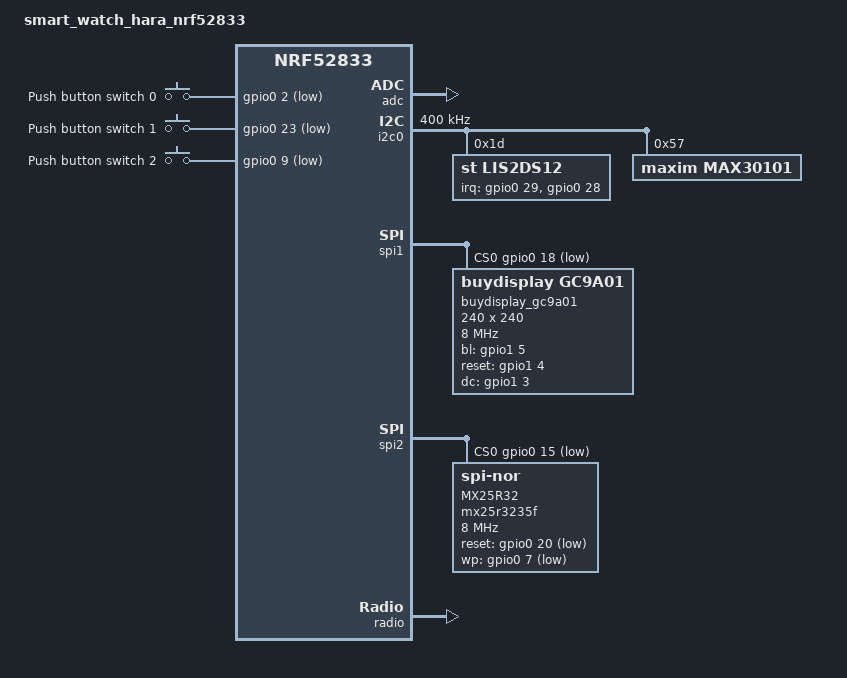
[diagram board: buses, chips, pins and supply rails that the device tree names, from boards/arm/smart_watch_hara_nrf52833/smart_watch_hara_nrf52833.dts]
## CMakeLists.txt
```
# SPDX-License-Identifier: Apache-2.0

cmake_minimum_required(VERSION 3.20.0)

find_package(Zephyr REQUIRED HINTS $ENV{ZEPHYR_BASE})
project(lvgl)

add_subdirectory(drivers)
include_directories(src/ui)

FILE(GLOB app_sources src/*.c)
target_sources(app PRIVATE ${app_sources})

FILE(GLOB ui_sources src/ui/*.c)
target_sources(app PRIVATE ${ui_sources})

add_compile_definitions(LV_LVGL_H_INCLUDE_SIMPLE)
```

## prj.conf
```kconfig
CONFIG_LV_Z_MEM_POOL_NUMBER_BLOCKS=8
CONFIG_MAIN_STACK_SIZE=5120
CONFIG_THREAD_MONITOR=y

CONFIG_DISPLAY=y
CONFIG_DISPLAY_LOG_LEVEL_ERR=y

# CONFIG_LV_Z_MEM_POOL_NUMBER_BLOCKS=8
# CONFIG_MAIN_STACK_SIZE=1024
CONFIG_SYSTEM_WORKQUEUE_STACK_SIZE=4096 
CONFIG_HEAP_MEM_POOL_SIZE=17000

CONFIG_LOG=y

CONFIG_PRINTK=y
CONFIG_CONSOLE=y
CONFIG_RTT_CONSOLE=y
CONFIG_USE_SEGGER_RTT=y

CONFIG_LVGL=y
CONFIG_LV_MEM_CUSTOM=y
CONFIG_LV_FONT_MONTSERRAT_14=y
CONFIG_LV_FONT_MONTSERRAT_16=y
#CONFIG_LV_PERF_MONITOR_ALIGN_RIGHT_MID=y

# LVGL Size optimizations
CONFIG_LV_LABEL_TEXT_SELECTION=n
CONFIG_LV_LABEL_LONG_TXT_HINT=n
CONFIG_LV_USE_LOG=n
CONFIG_LV_USE_BAR=n
CONFIG_LV_USE_CANVAS=n
CONFIG_LV_USE_CHECKBOX=n
CONFIG_LV_USE_DROPDOWN=n
CONFIG_LV_USE_LINE=y
CONFIG_LV_USE_ROLLER=y
CONFIG_LV_USE_SLIDER=y
CONFIG_LV_USE_SWITCH=y
CONFIG_LV_USE_TABLE=n
CONFIG_LV_USE_TEXTAREA=n
CONFIG_LV_USE_FLEX=y
CONFIG_LV_USE_ANIMIMG=y
CONFIG_LV_USE_CALENDAR=n
CONFIG_LV_USE_CHART=n
CONFIG_LV_USE_COLORWHEEL=n
CONFIG_LV_USE_IMGBTN=y
CONFIG_LV_USE_KEYBOARD=y
CONFIG_LV_USE_LED=n
CONFIG_LV_USE_LIST=y
CONFIG_LV_USE_MENU=y
CONFIG_LV_USE_METER=y
CONFIG_LV_USE_MSGBOX=y
CONFIG_LV_USE_SPINBOX=n
CONFIG_LV_USE_SPINNER=y
CONFIG_LV_USE_TABVIEW=n
CONFIG_LV_USE_TILEVIEW=n
CONFIG_LV_USE_WIN=n
CONFIG_LV_USE_SPAN=n
CONFIG_LV_USE_USER_DATA=y

CONFIG_LV_USE_TEXTAREA=y
# CONFIG_LV_USE_SPINNER=y
CONFIG_LV_USE_CHART=y
# CONFIG_LV_SPAN_SNIPPET_STACK_SIZE=64
CONFIG_LV_Z_VDB_SIZE=10
CONFIG_LV_Z_DOUBLE_VDB=n
CONFIG_SPI=y
CONFIG_GC9A01=y
CONFIG_LV_COLOR_DEPTH_16=y
CONFIG_LV_COLOR_16_SWAP=y
#
# Memory settings
#
# CONFIG_LV_MEM_CUSTOM is not set
CONFIG_LV_MEM_SIZE_KILOBYTES=25
CONFIG_LV_MEM_ADDR=0x0
CONFIG_LV_MEM_BUF_MAX_NUM=16
# end of Memory settingsC
CONFIG_I2C=y
CONFIG_KSCAN=y
CONFIG_KSCAN_CST816S=y

CONFIG_PWM=y
```

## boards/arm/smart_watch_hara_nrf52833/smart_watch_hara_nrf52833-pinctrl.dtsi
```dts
/*
 * Copyright (c) 2022 Nordic Semiconductor
 * SPDX-License-Identifier: Apache-2.0
 */

&pinctrl {
	// TODO remove for actual watch, no UART

	i2c0_default: i2c0_default {
		group1 {
			psels = <NRF_PSEL(TWIM_SDA, 0, 27)>,
					<NRF_PSEL(TWIM_SCL, 0, 6)>;
		};
	};

	i2c0_sleep: i2c0_sleep {
		group1 {
			psels = <NRF_PSEL(TWIM_SDA, 0, 27)>,
					<NRF_PSEL(TWIM_SCL, 0, 6)>;
			low-power-enable;
		};
	};

	spi1_default: spi1_default {
		group1 {
			// psels = <NRF_PSEL(SPIM_SCK, 0, 1)>,
					   // <NRF_PSEL(SPIM_MOSI, 0, 0)>;
			//<NRF_PSEL(SPIM_MISO, 0, 0)>;
			psels = <NRF_PSEL(SPIM_SCK, 1, 2)>,
					<NRF_PSEL(SPIM_MOSI, 1, 1)>;

		};
	};

	spi1_sleep: spi1_sleep {
		group1 {
			psels = <NRF_PSEL(SPIM_SCK, 1, 2)>,
					<NRF_PSEL(SPIM_MOSI, 1, 1)>;
			//<NRF_PSEL(SPIM_MISO, 0, 0)>;
			low-power-enable;
		};
	};

	spi2_default: spi2_default {
		group1 {
			psels = <NRF_PSEL(SPIM_SCK, 0, 14)>,
			        <NRF_PSEL(SPIM_MOSI, 1, 9)>,
			        <NRF_PSEL(SPIM_MISO, 0, 22)>;
		};
	};

	spi2_sleep: spi2_sleep {
		group1 {
			psels = <NRF_PSEL(SPIM_SCK, 0, 14)>,
			        <NRF_PSEL(SPIM_MOSI, 1, 9)>,
			        <NRF_PSEL(SPIM_MISO, 0, 22)>;
			low-power-enable;
		};
	};
};
```

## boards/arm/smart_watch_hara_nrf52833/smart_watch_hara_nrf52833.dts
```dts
// Copyright (c) 2022 Nordic Semiconductor ASA
// SPDX-License-Identifier: Apache-2.0

/dts-v1/;
#include <nordic/nrf52833_qiaa.dtsi>
#include "smart_watch_hara_nrf52833-pinctrl.dtsi"

/ {
	model = "smart_watch_hara_nrf52833";
	compatible = "jakob-krantz,smart-watch-hara-nrf52833";

	chosen {
		zephyr,console = &uart0;
		zephyr,sram = &sram0;
		zephyr,flash = &flash0;
		zephyr,display = &gc9a01;
		zephyr,code-partition = &slot0_partition;
	};

	// TODO change to watch buttons
	buttons {
		compatible = "gpio-keys";
		button0: button_0 {
			gpios = <&gpio0 2 (GPIO_PULL_UP | GPIO_ACTIVE_LOW)>;
			label = "Push button switch 0";
		};
		button1: button_1 {
			gpios = <&gpio0 23 (GPIO_PULL_UP | GPIO_ACTIVE_LOW)>;
			label = "Push button switch 1";
		};
		button2: button2 {
			gpios = <&gpio0 9 (GPIO_PULL_UP | GPIO_ACTIVE_LOW)>;
			label = "Push button switch 2";
		};
	};

	/*
	fstab {
		compatible = "zephyr,fstab";
		lfs: lfs {
		  compatible = "zephyr,fstab,littlefs";
		  mount-point = "/lfs";
		  partition = <&lfs1_part>;
		  read-size = <16>;
		  prog-size = <16>;
		  cache-size = <64>;
		  lookahead-size = <32>;
		  block-cycles = <512>;
		};
	  };
	*/
};


&gpio0 {
	status = "okay";
};

&gpio1 {
	status = "okay";
};

&adc {
	status = "okay";
};

&i2c0 {
	compatible = "nordic,nrf-twim";
	status = "okay";
	clock-frequency = <I2C_BITRATE_FAST>;

	pinctrl-0 = <&i2c0_default>;
	pinctrl-1 = <&i2c0_sleep>;
	pinctrl-names = "default", "sleep";
	lis2ds12: lis2ds12@1D {
		compatible = "st,lis2ds12", "st,lis2ds";
		label = "lis2ds12";
		reg = <0x1D>;
		irq-gpios = <&gpio0 29 GPIO_ACTIVE_HIGH &gpio0 28 GPIO_ACTIVE_HIGH>;
	};
	max30101@57 {
		status = "okay";
		compatible = "maxim,max30101";
		reg = <0x57>;
		label = "MAX30101";
	};
};

&spi1  {
	status = "okay";
	compatible = "nordic,nrf-spi";
	pinctrl-0 = <&spi1_default>;
	pinctrl-1 = <&spi1_sleep>;
	pinctrl-names = "default", "sleep";
	cs-gpios = <&gpio0 18 GPIO_ACTIVE_LOW>;

	gc9a01: gc9a01@0 {
		compatible = "buydisplay,gc9a01";
		status = "okay";
		spi-max-frequency = <8000000>;
		reg = <0>;
		width = <240>;
		label = "buydisplay_gc9a01";
		height = <240>;
		bl-gpios = <&gpio1 5 GPIO_ACTIVE_HIGH>;
		reset-gpios = <&gpio1 4 GPIO_ACTIVE_HIGH>;
		dc-gpios = <&gpio1 3 GPIO_ACTIVE_HIGH>;
	};

};

&spi2 {
	status = "okay";
	pinctrl-0 = <&spi2_default>;
	pinctrl-1 = <&spi2_sleep>;
	pinctrl-names = "default", "sleep";
	cs-gpios = <&gpio0 15 GPIO_ACTIVE_LOW>;
	mx25r32: mx25r3235f@0 {
		compatible = "jedec,spi-nor";
		reg = <0>;
		spi-max-frequency = <8000000>;
		label = "MX25R32";
		size = <33554432>;
		jedec-id = [c2 28 16];
		/*
		sfdp-bfp = [
			e5 20 f1 ff  ff ff ff 03  44 eb 08 6b  08 3b 04 bb
			ee ff ff ff  ff ff 00 ff  ff ff 00 ff  0c 20 0f 52
			10 d8 00 ff  23 72 f5 00  82 ed 04 cc  44 83 68 44
			30 b0 30 b0  f7 c4 d5 5c  00 be 29 ff  f0 d0 ff ff
		];
		has-dpd;
		t-enter-dpd = <10000>;
		t-exit-dpd = <35000>;*/
		reset-gpios = <&gpio0 20 (GPIO_ACTIVE_LOW | GPIO_PULL_UP)>;
		wp-gpios = <&gpio0 7 GPIO_ACTIVE_LOW>;
	};
};


&flash0 {
	partitions {
		compatible = "fixed-partitions";
		#address-cells = <1>;
		#size-cells = <1>;

		boot_partition: partition@0 {
			label = "mcuboot";
			reg = <0x0 0xc000>;
		};
		slot0_partition: partition@c000 {
			label = "image-0";
			reg = <0xc000 0x32000>;
		};
		slot1_partition: partition@3e000 {
			label = "image-1";
			reg = <0x3e000 0x32000>;
		};
		scratch_partition: partition@70000 {
			label = "image-scratch";
			reg = <0x70000 0xe000>;
		};
		storage_partition: partition@7e000 {
			label = "storage";
			reg = <0x7e000 0x2000>;
		};
	};
};

// Zephyr gets mad if this is not set, even thought we don't do any switching
&radio {
	status = "okay";
	dfe-antenna-num = <10>;
	dfe-pdu-antenna = <0x1>;
	// dfegpio0-gpios = <&gpio1 1 0>;
	// dfegpio1-gpios = <&gpio1 1 0>;
	// dfegpio2-gpios = <&gpio1 1 0>;
	// dfegpio3-gpios = <&gpio1 1 0>;
};
```

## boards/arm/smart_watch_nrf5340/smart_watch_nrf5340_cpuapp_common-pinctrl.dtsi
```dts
/*
 * Copyright (c) 2022 Nordic Semiconductor
 * SPDX-License-Identifier: Apache-2.0
 */

 &pinctrl {
	uart0_default: uart0_default {
		group1 {
			psels = <NRF_PSEL(UART_TX, 0, 6)>,
					<NRF_PSEL(UART_RTS, 0, 5)>;
		};
		group2 {
			psels = <NRF_PSEL(UART_RX, 0, 8)>,
					<NRF_PSEL(UART_CTS, 0, 7)>;
			bias-pull-up;
		};
	};

	uart0_sleep: uart0_sleep {
		group1 {
			psels = <NRF_PSEL(UART_TX, 0, 6)>,
			        <NRF_PSEL(UART_RX, 0, 8)>,
			        <NRF_PSEL(UART_RTS, 0, 5)>,
			        <NRF_PSEL(UART_CTS, 0, 7)>;
			low-power-enable;
		};
	};
	spi1_default: spi1_default {
		group1 {
			psels = <NRF_PSEL(SPIM_SCK, 1, 2)>,
					<NRF_PSEL(SPIM_MOSI, 1, 1)>;
			//<NRF_PSEL(SPIM_MISO, 0, 0)>;
		};
	};

	spi1_sleep: spi1_sleep {
		group1 {
			psels = <NRF_PSEL(SPIM_SCK, 1, 2)>,
					<NRF_PSEL(SPIM_MOSI, 1, 1)>;
			//<NRF_PSEL(SPIM_MISO, 0, 0)>;
			low-power-enable;
		};
	};

	i2c1_default: i2c1_default {
		group1 {
			psels = <NRF_PSEL(TWIM_SDA, 0, 26)>,
					<NRF_PSEL(TWIM_SCL, 0, 27)>;
		};
	};

	i2c1_sleep: i2c1_sleep {
		group1 {
			psels = <NRF_PSEL(TWIM_SDA, 0, 26)>,
					<NRF_PSEL(TWIM_SCL, 0, 27)>;
			low-power-enable;
		};
	};
	// Display BLK
	pwm0_default: pwm0_default {
		group1 {
			psels = <NRF_PSEL(PWM_OUT0, 1, 6)>;
		};
	};

	pwm0_sleep: pwm0_sleep {
		group1 {
			psels = <NRF_PSEL(PWM_OUT0, 1, 6)>;
			low-power-enable;
		};
	};

};
```

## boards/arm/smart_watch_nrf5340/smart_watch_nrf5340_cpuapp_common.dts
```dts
/*
 * Copyright (c) 2022 Nordic Semiconductor ASA
 *
 * SPDX-License-Identifier: LicenseRef-Nordic-5-Clause
 */
#include "smart_watch_nrf5340_cpuapp_common-pinctrl.dtsi"

/ {

	chosen {
		zephyr,console = &uart0;
		zephyr,bt-hci-rpmsg-ipc = &ipc0;
		zephyr,display = &gc9a01;
	};

	leds {
		compatible = "gpio-leds";
		led0: led_0 {
			gpios = <&gpio0 13 GPIO_ACTIVE_LOW>;
			label = "Green LED 0";
		};
	};

	pwmleds {
		compatible = "pwm-leds";
		pwm_led0: pwm_led_0 {
			pwms = <&pwm0 0 PWM_MSEC(20) 0>;
		};
	};

	/* These aliases are provided for compatibility with samples */
	aliases {
		led0 = &led0;
		pwm-led0 = &pwm_led0;
	};
};

&gpio0 {
	status = "okay";
};

&gpio1 {
	status = "okay";
};

&pwm0 {
	status = "okay";
	pinctrl-0 = <&pwm0_default>;
	pinctrl-1 = <&pwm0_sleep>;
	pinctrl-names = "default", "sleep";
};

&uart0 {
	compatible = "nordic,nrf-uarte";
	status = "okay";
	current-speed = <115200>;
	pinctrl-0 = <&uart0_default>;
	pinctrl-1 = <&uart0_sleep>;
	pinctrl-names = "default", "sleep";
};

&spi1 {
	status = "okay";
	compatible = "nordic,nrf-spi";
	pinctrl-0 = <&spi1_default>;
	pinctrl-1 = <&spi1_sleep>;
	pinctrl-names = "default", "sleep";
	cs-gpios = <&gpio1 3 GPIO_ACTIVE_LOW>;

	gc9a01: gc9a01@0 {
		compatible = "buydisplay,gc9a01";
		status = "okay";
		spi-max-frequency = <8000000>;
		reg = <0>;
		width = <240>;
		label = "buydisplay_gc9a01";
		height = <240>;
		bl-gpios = <&gpio1 6 GPIO_ACTIVE_HIGH>;
		reset-gpios = <&gpio1 5 GPIO_ACTIVE_HIGH>;
		dc-gpios = <&gpio1 8 GPIO_ACTIVE_HIGH>;
	};

};

&i2c1 {
	status = "okay";
	compatible = "nordic,nrf-twi";
	pinctrl-0 = <&i2c1_default>;
	pinctrl-1 = <&i2c1_sleep>;
	pinctrl-names = "default", "sleep";
	cst816s@0 {
		compatible = "hynitron,cst816s";
		reg = <0x0 >;
		irq-gpios = <&gpio0 12 GPIO_ACTIVE_LOW>;
		rst-gpios = <&gpio0 11 GPIO_ACTIVE_LOW>;
	};
};

&flash0 {

	partitions {
		compatible = "fixed-partitions";
		#address-cells = <1>;
		#size-cells = <1>;

		boot_partition: partition@0 {
			label = "mcuboot";
			reg = <0x00000000 0x00010000>;
		};
		slot0_partition: partition@10000 {
			label = "image-0";
		};
		slot0_ns_partition: partition@50000 {
			label = "image-0-nonsecure";
		};
		slot1_partition: partition@80000 {
			label = "image-1";
		};
		slot1_ns_partition: partition@c0000 {
			label = "image-1-nonsecure";
		};
		scratch_partition: partition@f0000 {
			label = "image-scratch";
			reg = <0x000f0000 0xa000>;
		};
		storage_partition: partition@fa000 {
			label = "storage";
			reg = <0x000fa000 0x00006000>;
		};
	};
};

zephyr_udc0: &usbd {
	compatible = "nordic,nrf-usbd";
	status = "okay";
};

/ {

	reserved-memory {
		#address-cells = <1>;
		#size-cells = <1>;
		ranges;

		sram0_image: image@20000000 {
			/* Zephyr image(s) memory */
		};

		sram0_s: image_s@20000000 {
			/* Secure image memory */
		};

		sram0_ns: image_ns@20040000 {
			/* Non-Secure image memory */
		};
	};
};

/* Include partition configuration file */
#include "smart_watch_nrf5340_cpuapp_partition_conf.dts"
```

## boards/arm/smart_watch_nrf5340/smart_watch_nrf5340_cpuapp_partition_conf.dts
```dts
/*
 * Copyright (c) 2022 Nordic Semiconductor ASA
 *
 * SPDX-License-Identifier: LicenseRef-Nordic-5-Clause
 */

/*
 * Default Flash planning for nrf7002dk_nrf5340 CPUAPP (Application MCU).
 *
 * Zephyr build for nRF5340 with ARM TrustZone-M support,
 * implies building Secure and Non-Secure Zephyr images.
 *
 * Secure image will be placed, by default, in flash0
 * (or in slot0, if MCUboot is present).
 * Secure image will use sram0 for system memory.
 *
 * Non-Secure image will be placed in slot0_ns, and use
 * sram0_ns for system memory.
 *
 * Note that the Secure image only requires knowledge of
 * the beginning of the Non-Secure image (not its size).
 */

&slot0_partition {
	reg = <0x00010000 0x40000>;
};

&slot0_ns_partition {
	reg = <0x00050000 0x30000>;
};

&slot1_partition {
	reg = <0x00080000 0x40000>;
};

&slot1_ns_partition {
	reg = <0x000c0000 0x30000>;
};

/* Default SRAM planning when building for nRF5340 with
 * ARM TrustZone-M support
 * - Lowest 256 kB SRAM allocated to Secure image (sram0_s)
 * - Middle 192 kB allocated to Non-Secure image (sram0_ns)
 * - Upper 64 kB SRAM allocated as Shared memory (sram0_shared)
 *   (see nrf5340_shared_sram_planning_conf.dts)
 */
&sram0_image {
	reg = <0x20000000 DT_SIZE_K(448)>;
};

&sram0_s {
	reg = <0x20000000 DT_SIZE_K(256)>;
};

&sram0_ns {
	reg = <0x20040000 DT_SIZE_K(192)>;
};

/* Include shared RAM configuration file */
#include "smart_watch_nrf5340_shared_sram_planning_conf.dts"
```

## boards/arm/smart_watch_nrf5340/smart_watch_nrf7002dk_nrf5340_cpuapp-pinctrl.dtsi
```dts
/*
 * Copyright (c) 2022 Nordic Semiconductor
 * SPDX-License-Identifier: Apache-2.0
 */

 &pinctrl {
	uart0_default: uart0_default {
		group1 {
			psels = <NRF_PSEL(UART_TX, 0, 6)>,
					<NRF_PSEL(UART_RTS, 0, 5)>;
		};
		group2 {
			psels = <NRF_PSEL(UART_RX, 0, 8)>,
					<NRF_PSEL(UART_CTS, 0, 7)>;
			bias-pull-up;
		};
	};

	uart0_sleep: uart0_sleep {
		group1 {
			psels = <NRF_PSEL(UART_TX, 0, 6)>,
			        <NRF_PSEL(UART_RX, 0, 8)>,
			        <NRF_PSEL(UART_RTS, 0, 5)>,
			        <NRF_PSEL(UART_CTS, 0, 7)>;
			low-power-enable;
		};
	};
	spi1_default: spi1_default {
		group1 {
			psels = <NRF_PSEL(SPIM_SCK, 1, 2)>,
					<NRF_PSEL(SPIM_MOSI, 1, 1)>;
			//<NRF_PSEL(SPIM_MISO, 0, 0)>;
		};
	};

	spi1_sleep: spi1_sleep {
		group1 {
			psels = <NRF_PSEL(SPIM_SCK, 1, 2)>,
					<NRF_PSEL(SPIM_MOSI, 1, 1)>;
			//<NRF_PSEL(SPIM_MISO, 0, 0)>;
			low-power-enable;
		};
	};

	i2c0_default: i2c0_default {
		group1 {
			psels = <NRF_PSEL(TWIM_SDA, 0, 26)>,
					<NRF_PSEL(TWIM_SCL, 0, 27)>;
		};
	};

	i2c0_sleep: i2c0_sleep {
		group1 {
			psels = <NRF_PSEL(TWIM_SDA, 0, 26)>,
					<NRF_PSEL(TWIM_SCL, 0, 27)>;
			low-power-enable;
		};
	};
	// Display BLK
	pwm0_default: pwm0_default {
		group1 {
			psels = <NRF_PSEL(PWM_OUT0, 1, 6)>;
		};
	};

	pwm0_sleep: pwm0_sleep {
		group1 {
			psels = <NRF_PSEL(PWM_OUT0, 1, 6)>;
			low-power-enable;
		};
	};

};
```

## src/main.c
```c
/*
 * Copyright (c) 2018 Jan Van Winkel <jan.van_winkel@dxplore.eu>
 *
 * SPDX-License-Identifier: Apache-2.0
 */

#include <zephyr/device.h>
#include <zephyr/devicetree.h>
#include <zephyr/drivers/display.h>
#include <zephyr/drivers/gpio.h>
#include <lvgl.h>
#include <stdio.h>
#include <string.h>
#include <zephyr/kernel.h>
#include <zephyr/drivers/pwm.h>
#include <zephyr/drivers/gpio.h>

#include <ui.h>
#define LOG_LEVEL CONFIG_LOG_DEFAULT_LEVEL
#include <zephyr/logging/log.h>
LOG_MODULE_REGISTER(app);

void run_init_work(struct k_work *item);
static void lvgl_render(struct k_work *item);
static void clock_display(struct k_work *item);

K_WORK_DEFINE(init_work, run_init_work);
K_WORK_DELAYABLE_DEFINE(lvgl_work, lvgl_render);
K_WORK_DELAYABLE_DEFINE(clock_work, clock_display);

#define RENDER_INTERVAL_LVGL K_MSEC(100)
#define RENDER_INTERVAL_CLOCK_TIME K_MSEC(1000)

const struct device *display_dev;

typedef struct
{
	uint16_t hour;
	uint16_t min;
} time_t;

time_t time;

void run_init_work(struct k_work *item)
{
	int err;
	char count_str[11] = {0};

	display_dev = DEVICE_DT_GET(DT_CHOSEN(zephyr_display));
	printk("start project display\r\n");
	if (!device_is_ready(display_dev))
	{
		LOG_ERR("Device not ready, aborting test");
		return;
	}
}

static void lvgl_render(struct k_work *item)
{
	lv_task_handler();
	k_work_schedule(&lvgl_work, RENDER_INTERVAL_LVGL);
}

static void clock_display(struct k_work *item)
{
	printk("clock_display hour = %d --- min = %d\r\n", time.hour, time.min);
	time.hour;
	if (time.min >= 60)
	{
		time.min = 0;
		time.hour++;
	}
	else
		time.min++;
	watchface_set_time(time.hour, time.min, 0);
	k_work_schedule(&clock_work, RENDER_INTERVAL_CLOCK_TIME);
}

#define MY_STACK_SIZE 4096
#define MY_PRIORITY 5

void user_lvgl_task(void *, void *, void *)
{
	ui_init();

	k_work_schedule(&lvgl_work, K_MSEC(1));
	k_work_schedule(&clock_work, K_MSEC(1000));
	while (1)
	{
		k_msleep(5);
	}
}
K_THREAD_STACK_DEFINE(my_stack_area, MY_STACK_SIZE);
struct k_thread my_thread_data;

void main(void)
{

	// general_ui_anim_in(root_page, 100);

	// The init code requires a bit of stack.
	// So in order to not increase CONFIG_MAIN_STACK_SIZE and loose
	// this RAM forever, instead re-use the system workqueue for init
	// it has the required amount of stack.
	k_work_submit(&init_work);
	k_tid_t my_tid = k_thread_create(&my_thread_data, my_stack_area,
									 K_THREAD_STACK_SIZEOF(my_stack_area),
									 user_lvgl_task,
									 NULL, NULL, NULL,
									 MY_PRIORITY, 0, K_NO_WAIT);
}
```
